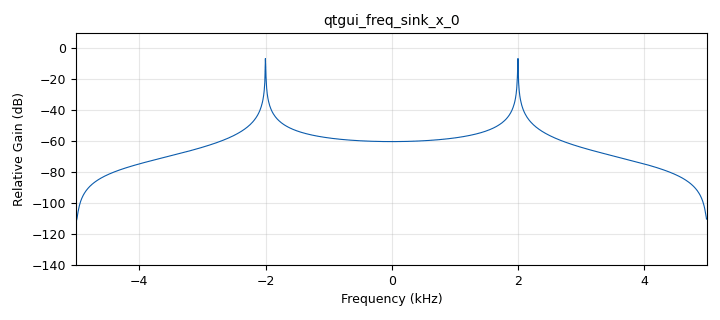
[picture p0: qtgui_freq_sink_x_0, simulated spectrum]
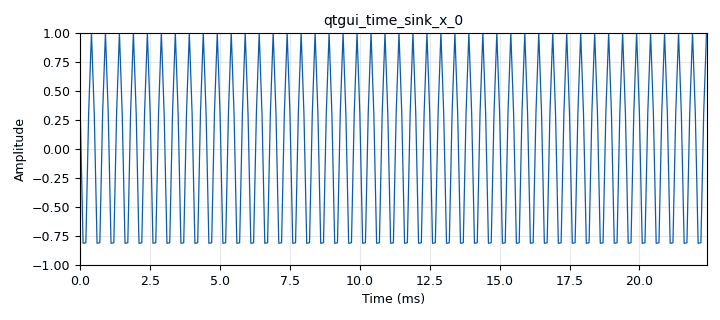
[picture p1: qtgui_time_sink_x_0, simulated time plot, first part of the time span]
options:
  parameters:
    author: gefa
    generate_options: qt_gui
    id: hello_world2
    output_language: python
    title: hello_world2
  states: {}

blocks:
- name: freq
  id: variable
  parameters:
    value: 2e3
  states: {}
- name: samp_rate
  id: variable_qtgui_range
  parameters:
    orient: Qt.Horizontal
    start: 1e3
    step: '200'
    stop: 40e3
    value: 10e3
  states: {}
- name: analog_sig_source_x_0
  id: analog_sig_source_x
  parameters:
    amp: '1'
    freq: freq
    offset: '0'
    phase: '0'
    samp_rate: samp_rate
    type: float
    waveform: analog.GR_COS_WAVE
  states: {}
- name: blocks_throttle_0
  id: blocks_throttle
  parameters:
    samples_per_second: samp_rate
    type: float
  states: {}
- name: qtgui_freq_sink_x_0
  id: qtgui_freq_sink_x
  parameters:
    bw: samp_rate
    ctrlpanel: 'True'
    fc: '0'
    fftsize: '1024'
    type: float
    wintype: firdes.WIN_RECTANGULAR
  states: {}
- name: qtgui_tab_widget_0
  id: qtgui_tab_widget
  parameters:
    label0: Time
    label1: Frequency
    num_tabs: '2'
  states: {state: disabled}
- name: qtgui_time_sink_x_0
  id: qtgui_time_sink_x
  parameters:
    ctrlpanel: 'True'
    size: '1024'
    srate: samp_rate
    type: float
  states: {}

connections:
- [analog_sig_source_x_0, '0', blocks_throttle_0, '0']
- [blocks_throttle_0, '0', qtgui_freq_sink_x_0, '0']
- [blocks_throttle_0, '0', qtgui_time_sink_x_0, '0']

metadata:
  file_format: 1
